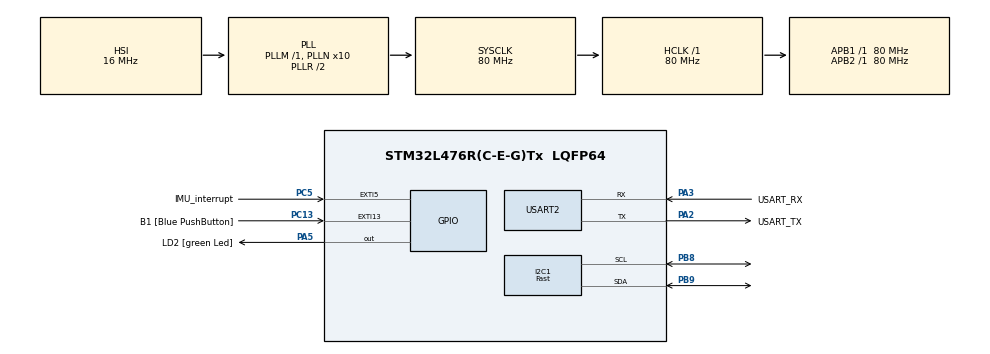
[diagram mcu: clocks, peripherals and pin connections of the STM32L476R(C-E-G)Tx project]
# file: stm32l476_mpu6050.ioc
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Dma.I2C1_RX.0.Direction=DMA_PERIPH_TO_MEMORY
Dma.I2C1_RX.0.Instance=DMA1_Channel7
Dma.I2C1_RX.0.MemDataAlignment=DMA_MDATAALIGN_BYTE
Dma.I2C1_RX.0.MemInc=DMA_MINC_ENABLE
Dma.I2C1_RX.0.Mode=DMA_NORMAL
Dma.I2C1_RX.0.PeriphDataAlignment=DMA_PDATAALIGN_BYTE
Dma.I2C1_RX.0.PeriphInc=DMA_PINC_DISABLE
Dma.I2C1_RX.0.Priority=DMA_PRIORITY_LOW
Dma.Request0=I2C1_RX
I2C1.I2C_Speed_Mode=I2C_Fast
I2C1.Timing=0x00702991
Mcu.Family=STM32L4
Mcu.Name=STM32L476R(C-E-G)Tx
Mcu.Package=LQFP64
NVIC.DMA1_Channel7_IRQn=true\:0\:0\:false\:false\:true\:false\:true\:true
NVIC.EXTI9_5_IRQn=true\:0\:0\:false\:false\:true\:true\:true\:true
NVIC.I2C1_ER_IRQn=true\:0\:0\:false\:false\:true\:true\:true\:true
NVIC.I2C1_EV_IRQn=true\:0\:0\:false\:false\:true\:true\:true\:true
NVIC.PriorityGroup=NVIC_PRIORITYGROUP_4
NVIC.RTC_WKUP_IRQn=true\:0\:0\:false\:false\:true\:true\:true\:true
PA13\ (JTMS-SWDIO).GPIO_Label=TMS
PA13\ (JTMS-SWDIO).Mode=Serial_Wire
PA13\ (JTMS-SWDIO).Signal=SYS_JTMS-SWDIO
PA14\ (JTCK-SWCLK).GPIO_Label=TCK
PA14\ (JTCK-SWCLK).Mode=Serial_Wire
PA14\ (JTCK-SWCLK).Signal=SYS_JTCK-SWCLK
PA2.GPIO_Label=USART_TX
PA2.GPIO_Mode=GPIO_MODE_AF_PP
PA2.GPIO_PuPd=GPIO_NOPULL
PA2.GPIO_Speed=GPIO_SPEED_FREQ_VERY_HIGH
PA2.Mode=Asynchronous
PA2.Signal=USART2_TX
PA3.GPIO_Label=USART_RX
PA3.GPIO_Mode=GPIO_MODE_AF_PP
PA3.GPIO_PuPd=GPIO_NOPULL
PA3.GPIO_Speed=GPIO_SPEED_FREQ_VERY_HIGH
PA3.Mode=Asynchronous
PA3.Signal=USART2_RX
PA5.GPIO_Label=LD2 [green Led]
PA5.GPIO_ModeDefaultOutputPP=GPIO_MODE_OUTPUT_PP
PA5.GPIO_PuPd=GPIO_NOPULL
PA5.GPIO_Speed=GPIO_SPEED_FREQ_LOW
PA5.Signal=GPIO_Output
PB3\ (JTDO-TRACESWO).GPIO_Label=SWO
PB3\ (JTDO-TRACESWO).Signal=SYS_JTDO-SWO
PB8.Mode=I2C
PB8.Signal=I2C1_SCL
PB9.Mode=I2C
PB9.Signal=I2C1_SDA
PC13.GPIO_Label=B1 [Blue PushButton]
PC13.GPIO_ModeDefaultEXTI=GPIO_MODE_IT_FALLING
PC13.GPIO_PuPd=GPIO_NOPULL
PC13.Signal=GPXTI13
PC14-OSC32_IN\ (PC14).Mode=LSE-External-Oscillator
PC14-OSC32_IN\ (PC14).Signal=RCC_OSC32_IN
PC15-OSC32_OUT\ (PC15).Mode=LSE-External-Oscillator
PC15-OSC32_OUT\ (PC15).Signal=RCC_OSC32_OUT
PC5.GPIO_Label=IMU_interrupt
PC5.GPIO_PuPd=GPIO_PULLDOWN
PC5.Signal=GPXTI5
PH0-OSC_IN\ (PH0).Signal=RCC_OSC_IN
PH1-OSC_OUT\ (PH1).Signal=RCC_OSC_OUT
ProjectManager.HeapSize=0x200
ProjectManager.StackSize=0x400
ProjectManager.TargetToolchain=STM32CubeIDE
RCC.ADCFreq_Value=64000000
RCC.AHBFreq_Value=80000000
RCC.APB1Freq_Value=80000000
RCC.APB1TimFreq_Value=80000000
RCC.APB2Freq_Value=80000000
RCC.APB2TimFreq_Value=80000000
RCC.CortexFreq_Value=80000000
RCC.HCLKFreq_Value=80000000
RCC.HSE_VALUE=8000000
RCC.HSI_VALUE=16000000
RCC.MSI_VALUE=4000000
RCC.PLLN=10
RCC.PLLSourceVirtual=RCC_PLLSOURCE_HSI
RCC.PREFETCH_ENABLE=1
RCC.RTCClockSelection=RCC_RTCCLKSOURCE_LSE
RCC.SYSCLKFreq_VALUE=80000000
RCC.SYSCLKSource=RCC_SYSCLKSOURCE_PLLCLK
RCC.USBFreq_Value=64000000
RCC.VCOOutputFreq_Value=160000000
USART2.VirtualMode-Asynchronous=VM_ASYNC
VP_RTC_VS_RTC_Activate.Mode=RTC_Enabled
VP_RTC_VS_RTC_Calendar.Mode=RTC_Calendar
VP_RTC_VS_RTC_WakeUp_intern.Mode=WakeUp
board=NUCLEO-L476RG

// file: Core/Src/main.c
/* USER CODE BEGIN Header */
/**
  ******************************************************************************
  * @file           : main.c
  * @brief          : Main program body
  ******************************************************************************
  * @attention
  *
  * Copyright (c) 2024 STMicroelectronics.
  * All rights reserved.
  *
  * This software is licensed under terms that can be found in the LICENSE file
  * in the root directory of this software component.
  * If no LICENSE file comes with this software, it is provided AS-IS.
  *
  ******************************************************************************
  */
/* USER CODE END Header */
#include "main.h"

/* USER CODE BEGIN Includes */
#include <stdio.h>
#include <string.h>
#include <stdarg.h>

#include "mpu6050.h"
/* USER CODE END Includes */

/* USER CODE BEGIN PD */

#define FIFO_SIZE 1024
#define gyro_output_rate 1000 // in Hz, can be either 8 kHz or 1 kHz
#define fifo_off_time    500  // in ms, total time the fifo is disabled while mcu is reading (take some margin...)

// Buffer size to store timeStamp + sensor data before writing to microSD
#define BUFFER_SIZE 31456

// full packet: "+A.XXX +A.YYY +A.ZZZ +GGG.XX +GGG.YY +GGG.ZZ\r\n"
#define SD_PACKET_SIZE 46

// timestamp size: "T: YY-MM-GG hh:mm:ss\r\n"
#define SD_TIMESTAMP_SIZE 22

// FIFO packet size: "AxAxAyAyAzAzGxGxGyGyGzGz"
#define FIFO_PACKET_SIZE 12

/****** RTC Initialization variables: ******/
#define startHours 0x13
#define startMinutes 0x15
#define startSeconds 0x0

#define startDate 0x15
#define startMonth RTC_MONTH_OCTOBER
#define startYear 0x24

/****** MOTION DETECTION THRESHOLDS ******/
#define mot_th 30    // 1 LSB = 2 mg, Suggested value ~ 20mg
#define mot_dur 1    // 1 LSB = 1 ms --> The "old" documentation suggests duration = 1 ms

/****** ZERO MOTION DETECTION THRESHOLDS ******/
#define zeroMot_th 80    // 1 LSB = 2 mg
#define zeroMot_dur 150  // 1 LSB = 64 ms

/* USER CODE END PD */

I2C_HandleTypeDef hi2c1;
DMA_HandleTypeDef hdma_i2c1_rx;

RTC_HandleTypeDef hrtc;

UART_HandleTypeDef huart2;

/* USER CODE BEGIN PV */
//TODO: comments on this section:

bool dmaTxDone = false;

// variables used for sleep cycle:
bool zero_mot_trg = false;
bool rtc_trg = false;

/*****************
 * RTC VARIABLES *
 *****************/
RTC_TimeTypeDef sTime;  // Track RTC time structure
RTC_DateTypeDef sDate;  // Track RTC data structure
HAL_StatusTypeDef statusRTC;  // RTC HAL status

/******* Sleep Variables ******/
uint32_t timerTickStart; // used in timer functions... TODO

// Used to update the sleep time depending on computation time:
uint16_t sleepTime; // in milliseconds!!

bool awake_status;

/*****************
 * IMU VARIABLES *
 *****************/

/****** ACCEL., GYRO. AND TEMPERATURE READINGS ******/
int16_t ax;
int16_t ay;
int16_t az;
double Ax, Ay, Az;

int16_t gx;
int16_t gy;
int16_t gz;
double Gx, Gy, Gz;

int16_t temp;
float curr_temp;

/*************************
 * CALIBRATION VARIABLES *
 *************************/
uint16_t readings = 1000;
uint8_t acel_deadzone = 8;  // Average accel. readings should be less than this threshold
uint8_t gyro_deadzone = 1;  // Average gyro readings should be less than this threshold

// last calibration results:
const int16_t AXoffset = 208;
const int16_t AYoffset = 53;
const int16_t AZoffset = 558;
const int16_t GXoffset = -88;
const int16_t GYoffset = -2;
const int16_t GZoffset = -9;

int16_t MPU6050_offsets[6] = {AXoffset, AYoffset, AZoffset, GXoffset, GYoffset, GZoffset};

/*********************
 * SD CARD VARIABLES *
 *********************/
// save them into SRAM2 since it allows buffering between different power down routines:
char mainBuff[BUFFER_SIZE] __attribute__((section(".ram2"))) __attribute__((aligned(4)));
uint16_t buff_Head __attribute__((section(".ram2"))) __attribute__((aligned(4)));

/* USER CODE END PV */

void SystemClock_Config(void);
static void MX_GPIO_Init(void);
static void MX_DMA_Init(void);
static void MX_USART2_UART_Init(void);
static void MX_I2C1_Init(void);
static void MX_RTC_Init(void);
/* USER CODE BEGIN PFP */

int _write(int file, char *ptr, int len);
uint8_t add_time_to_buff (char * buff, uint16_t* buff_Head);
uint8_t add_data_to_buff (char * buff, uint16_t* buff_Head, double ax, double ay, double az, double gx, double gy, double gz);
void Timer_On();
uint32_t Timer_Status();
uint16_t readIMUFifoBuffer(I2C_HandleTypeDef *I2Cx, uint8_t *temp_buff, bool rehabilitateFifo);
void process_and_save_ImuReadings(uint8_t *fifoBuff, uint16_t fifoSize, char *sramBuff, uint16_t *sramBuff_Head,
                        int16_t ax, int16_t ay, int16_t az, int16_t gx, int16_t gy, int16_t gz);
void enterStandbyMode();

void HAL_I2C_MemRxCpltCallback(I2C_HandleTypeDef * hi2c);
void HAL_I2C_ErrorCallback(I2C_HandleTypeDef * hi2c);
void HAL_RTCEx_WakeUpTimerEventCallback(RTC_HandleTypeDef *hrtc);

/* USER CODE END PFP */

int main(void)
{

  /* MCU Configuration--------------------------------------------------------*/

  /* Reset of all peripherals, Initializes the Flash interface and the Systick. */
  HAL_Init();

  /* Configure the system clock */
  SystemClock_Config();

  /* Initialize all configured peripherals */
  MX_GPIO_Init();
  MX_DMA_Init();
  MX_USART2_UART_Init();
  MX_I2C1_Init();
  MX_RTC_Init();
  /* USER CODE BEGIN 2 */

  if (__HAL_PWR_GET_FLAG(PWR_FLAG_SB) != RESET){ // Recovering from standby

    __HAL_PWR_CLEAR_FLAG(PWR_FLAG_SB);  // clear the StandBy flag

    /** Disable the WWAKEUP PIN **/
    HAL_PWR_DisableWakeUpPin(PWR_WAKEUP_PIN5);

    awake_status = MPU6050_getIntMotionStatus(&hi2c1);  // clear interrupt status register

    //reset all registers and re-initialize the device
    MPU6050_reset(&hi2c1);
    HAL_Delay(50);

    printf("MPU6050 Initialized!\r\n");

    /* mpu6050 setup zero motion interrupt: */
    MPU6050_setupZeroMotionInt(&hi2c1, zeroMot_dur, zeroMot_th, MPU6050_offsets);

//    // Reconfigure pin PC5 to detect zero motion INT TODO: test this part
//    GPIO_InitTypeDef GPIO_InitStruct = {0};
//    GPIO_InitStruct.Pin = GPIO_PIN_5;
//    GPIO_InitStruct.Mode = GPIO_MODE_IT_RISING;
//    GPIO_InitStruct.Pull = GPIO_PULLDOWN;
//    HAL_GPIO_Init(GPIOC, &GPIO_InitStruct);
//
//    HAL_NVIC_SetPriority(EXTI9_5_IRQn, 0, 0);
//    HAL_NVIC_EnableIRQ(EXTI9_5_IRQn);

    /* modify mpu6050 settings to store sensor readings in the FIFO: */

    // maximum divider -> New samples fill the FIFO with a rate of 4 Hz
    bool overflowEnabled = true;
    MPU6050_setupFifoBuffer(&hi2c1, MPU6050_DLPF_BW_188, 0xFF, overflowEnabled);

  } else { // 1st initialization:

    printf("First cycle!\r\n");

    // Initialize buffers stored in RAM2 section:
    memset(mainBuff, 0, sizeof(mainBuff));
    buff_Head = 0;

    // Initialize IMU for the 1st time
    printf("Starting IMU...\r\n");

    MPU6050_reset(&hi2c1);
    HAL_Delay(50);

    uint8_t check = MPU6050_Initialize(&hi2c1, A2G, G250DPS, MPU6050_offsets);

    if (check == 0){ // If no errors during initialization
      printf("IMU Initialized! \r\n");
    } else {
      printf("An error occured during initializiation! \r\n");

      while(1){/* block code execution */}
    }

    // Needed while loading the script (avoid conflict with ST-Link)
    HAL_Delay(500);

    // Initially deactivate wakeup function:
    HAL_RTCEx_DeactivateWakeUpTimer(&hrtc);

    // Uncomment here to perform a new calibration routine:
    // MPU6050_selfCalibration(&hi2c1, A2G, G250DPS, readings, acel_deadzone, gyro_deadzone);

    // Set-up motion interrupt
    printf("Setting up motion interrupt!\r\n\n");

    MPU6050_setupMotionInt(&hi2c1, mot_dur, mot_th, MPU6050_offsets);

    /** Now enter the standby mode **/
    enterStandbyMode();

    // Upon waking up, code will be executed from the beginning (like a reset)
  }

  /*
   *  This section is reached only after recovering from standby mode:
   */

  // local buff used to read FIFO data:
  uint8_t buff[FIFO_SIZE];
  memset(buff, 0, sizeof(buff));
  uint16_t fifoCount;
  uint32_t wakeUpCounter;

  /* Enable STOP2 mode*/

  /* calculate sleep time: */

  double fifoSamplingRate   = (double) gyro_output_rate/MPU6050_getRate(&hi2c1);
  uint16_t fifo_max_packets = (uint16_t) FIFO_SIZE/FIFO_PACKET_SIZE;    // max entire packets in the FIFO buffer:
  uint16_t defaultSleepTime = (uint16_t) (1000*(fifo_max_packets/fifoSamplingRate)) - fifo_off_time; // in ms!! Take some margin to avoid overflow conditions

  // initially sleep for the default time:
  wakeUpCounter = (defaultSleepTime/1e3)/(0.00048828125);

  // suspend tick and setup RTC interrupt
  HAL_SuspendTick();
  HAL_RTCEx_SetWakeUpTimer_IT(&hrtc, wakeUpCounter, RTC_WAKEUPCLOCK_RTCCLK_DIV16);

  /* Enter Stop mode 2 */
  HAL_PWREx_EnterSTOP2Mode(PWR_STOPENTRY_WFI);

  /* USER CODE END 2 */

  /* Infinite loop */
  /* USER CODE BEGIN WHILE */
  while (1)
  {
    // awake here...
    // deactivate the RTC interrupt and resume settings
    HAL_RTCEx_DeactivateWakeUpTimer(&hrtc);
    SystemClock_Config();
    HAL_ResumeTick();

    /* USER CODE END WHILE */

    /* USER CODE BEGIN 3 */

    if(zero_mot_trg){ // if zero motion is triggered

      printf("\nZero motion\r\n");

      // prevent new interrupt generation
      MPU6050_setIntZeroMotionEnabled(&hi2c1, false);

      // get the full interrupt status vector:
      uint8_t interrupt_status = MPU6050_getIntStatus(&hi2c1);

      // check zero motion and overflow bits:
      bool zeroMotBit   = (interrupt_status >> MPU6050_INTERRUPT_ZMOT_BIT) & 0x01;
      bool fifoOflowBit = (interrupt_status >> MPU6050_INTERRUPT_FIFO_OFLOW_BIT) & 0x01;

      // check motiont_status_reg --> determine if the interrupt was caused by motion_to_zero_motion event or vice-versa
      bool mot_to_zeroMot = MPU6050_getZeroMotionDetected(&hi2c1);

      /* Determine which signal triggered the system activation: */

      // FIFO overflow event:
      if (fifoOflowBit) {
        // TODO manage overflow event
        printf("FIFO Oflow\r\n");
        while(1);
      }

      // Zero motion event caused by zero_motion_to_motion status
      if (zeroMotBit & !mot_to_zeroMot) {
        // TODO manage this event
        printf("Wrong zero mot\r\n");
        while(1);
      }

      // This point is reached only if the MCU was triggered by a real zero motion event

      // stop FIFO acquisition and read data:
      bool rehabilitateFifo = false;
      fifoCount = readIMUFifoBuffer(&hi2c1, buff, rehabilitateFifo);

      // process FIFO data
      process_and_save_ImuReadings(buff, fifoCount, mainBuff, &buff_Head, ax, ay, az, gx, gy, gz);

      // Set-up MPU6050 for motion interrupt:
      MPU6050_reset(&hi2c1);
      HAL_Delay(50);

      // Set-up motion interrupt
      printf("Setting up motion interrupt!\r\n\n");

      MPU6050_setupMotionInt(&hi2c1, mot_dur, mot_th, MPU6050_offsets);

      /** Now enter standby mode **/
      enterStandbyMode();

    } /* End of zero motion event: enter deep sleep mode */

    if(rtc_trg){ // if rtc flag is set
      printf("\nFIFO read\r\n");

      /* read FIFO buffer: */
      bool rehabilitateFifo = true;
      fifoCount = readIMUFifoBuffer(&hi2c1, buff, rehabilitateFifo);

      // Start counting total time required by the MCU
      // This time will be subtracted from the total sleep time
      Timer_On();

      /* Process data and write into permanent memories */

      process_and_save_ImuReadings(buff, fifoCount, mainBuff, &buff_Head, ax, ay, az, gx, gy, gz);

      /*  setup RTC alarm */

      /*  RTC Wake-up Interrupt Generation:
          Wake-up Time Base = (RTC_WAKEUPCLOCK_RTCCLK_DIV /(LSI))
          ==> WakeUpCounter = Wake-up Time / Wake-up Time Base

          To configure the wake up timer to 20s the WakeUpCounter is set to 0xA017:
            RTC_WAKEUPCLOCK_RTCCLK_DIV = RTCCLK_Div16 = 16
            Wake-up Time Base = 16 /(32KHz) = 0.0005 seconds
            ==> WakeUpCounter = ~10s/0.0005s = 20000 = 0x4E20 */

      rtc_trg = false;
      wakeUpCounter = ((defaultSleepTime - Timer_Status())/1e3)/(0.00048828125);

      if(!zero_mot_trg){         // manage the case in which zero_mot is triggered while reading the FIFO
        // Enter STOP2 mode:     // ==> skip sleep phase and manage this condition.
        HAL_SuspendTick();
        HAL_RTCEx_SetWakeUpTimer_IT(&hrtc, wakeUpCounter, RTC_WAKEUPCLOCK_RTCCLK_DIV16);

        /*  Enter Stop Mode 2 */
        HAL_PWREx_EnterSTOP2Mode(PWR_STOPENTRY_WFI);
      }

    } /* End of FIFO processing */

  }
  /* USER CODE END 3 */
}

void SystemClock_Config(void)
{
  RCC_OscInitTypeDef RCC_OscInitStruct = {0};
  RCC_ClkInitTypeDef RCC_ClkInitStruct = {0};

  /** Configure the main internal regulator output voltage
  */
  if (HAL_PWREx_ControlVoltageScaling(PWR_REGULATOR_VOLTAGE_SCALE1) != HAL_OK)
  {
    Error_Handler();
  }

  /** Configure LSE Drive Capability
  */
  HAL_PWR_EnableBkUpAccess();
  __HAL_RCC_LSEDRIVE_CONFIG(RCC_LSEDRIVE_LOW);

  /** Initializes the RCC Oscillators according to the specified parameters
  * in the RCC_OscInitTypeDef structure.
  */
  RCC_OscInitStruct.OscillatorType = RCC_OSCILLATORTYPE_HSI|RCC_OSCILLATORTYPE_LSE;
  RCC_OscInitStruct.LSEState = RCC_LSE_ON;
  RCC_OscInitStruct.HSIState = RCC_HSI_ON;
  RCC_OscInitStruct.HSICalibrationValue = RCC_HSICALIBRATION_DEFAULT;
  RCC_OscInitStruct.PLL.PLLState = RCC_PLL_ON;
  RCC_OscInitStruct.PLL.PLLSource = RCC_PLLSOURCE_HSI;
  RCC_OscInitStruct.PLL.PLLM = 1;
  RCC_OscInitStruct.PLL.PLLN = 10;
  RCC_OscInitStruct.PLL.PLLP = RCC_PLLP_DIV7;
  RCC_OscInitStruct.PLL.PLLQ = RCC_PLLQ_DIV2;
  RCC_OscInitStruct.PLL.PLLR = RCC_PLLR_DIV2;
  if (HAL_RCC_OscConfig(&RCC_OscInitStruct) != HAL_OK)
  {
    Error_Handler();
  }

  /** Initializes the CPU, AHB and APB buses clocks
  */
  RCC_ClkInitStruct.ClockType = RCC_CLOCKTYPE_HCLK|RCC_CLOCKTYPE_SYSCLK
                              |RCC_CLOCKTYPE_PCLK1|RCC_CLOCKTYPE_PCLK2;
  RCC_ClkInitStruct.SYSCLKSource = RCC_SYSCLKSOURCE_PLLCLK;
  RCC_ClkInitStruct.AHBCLKDivider = RCC_SYSCLK_DIV1;
  RCC_ClkInitStruct.APB1CLKDivider = RCC_HCLK_DIV1;
  RCC_ClkInitStruct.APB2CLKDivider = RCC_HCLK_DIV1;

  if (HAL_RCC_ClockConfig(&RCC_ClkInitStruct, FLASH_LATENCY_4) != HAL_OK)
  {
    Error_Handler();
  }
}

static void MX_I2C1_Init(void)
{

  hi2c1.Instance = I2C1;
  hi2c1.Init.Timing = 0x00702991;
  hi2c1.Init.OwnAddress1 = 0;
  hi2c1.Init.AddressingMode = I2C_ADDRESSINGMODE_7BIT;
  hi2c1.Init.DualAddressMode = I2C_DUALADDRESS_DISABLE;
  hi2c1.Init.OwnAddress2 = 0;
  hi2c1.Init.OwnAddress2Masks = I2C_OA2_NOMASK;
  hi2c1.Init.GeneralCallMode = I2C_GENERALCALL_DISABLE;
  hi2c1.Init.NoStretchMode = I2C_NOSTRETCH_DISABLE;
  if (HAL_I2C_Init(&hi2c1) != HAL_OK)
  {
    Error_Handler();
  }

  /** Configure Analogue filter
  */
  if (HAL_I2CEx_ConfigAnalogFilter(&hi2c1, I2C_ANALOGFILTER_ENABLE) != HAL_OK)
  {
    Error_Handler();
  }

  /** Configure Digital filter
  */
  if (HAL_I2CEx_ConfigDigitalFilter(&hi2c1, 0) != HAL_OK)
  {
    Error_Handler();
  }

}

static void MX_RTC_Init(void)
{

  RTC_TimeTypeDef sTime = {0};
  RTC_DateTypeDef sDate = {0};

  /** Initialize RTC Only
  */
  hrtc.Instance = RTC;
  hrtc.Init.HourFormat = RTC_HOURFORMAT_24;
  hrtc.Init.AsynchPrediv = 127;
  hrtc.Init.SynchPrediv = 255;
  hrtc.Init.OutPut = RTC_OUTPUT_DISABLE;
  hrtc.Init.OutPutRemap = RTC_OUTPUT_REMAP_NONE;
  hrtc.Init.OutPutPolarity = RTC_OUTPUT_POLARITY_HIGH;
  hrtc.Init.OutPutType = RTC_OUTPUT_TYPE_OPENDRAIN;
  if (HAL_RTC_Init(&hrtc) != HAL_OK)
  {
    Error_Handler();
  }

  /* USER CODE BEGIN Check_RTC_BKUP */

  if (__HAL_PWR_GET_FLAG(PWR_FLAG_SB) != RESET) {
    printf("\n\nWaking from StandBy mode, RTC skip!\r\n");
    return; // Exit the function to prevent reinitialize RTC
  } else {
    printf("\n\nInitializing RTC!\r\n");
  }

  /* USER CODE END Check_RTC_BKUP */

  /** Initialize RTC and set the Time and Date
  */
  sTime.Hours = 0x0;
  sTime.Minutes = 0x0;
  sTime.Seconds = 0x0;
  sTime.DayLightSaving = RTC_DAYLIGHTSAVING_NONE;
  sTime.StoreOperation = RTC_STOREOPERATION_RESET;
  if (HAL_RTC_SetTime(&hrtc, &sTime, RTC_FORMAT_BCD) != HAL_OK)
  {
    Error_Handler();
  }
  sDate.WeekDay = RTC_WEEKDAY_MONDAY;
  sDate.Month = RTC_MONTH_JANUARY;
  sDate.Date = 0x1;
  sDate.Year = 0x0;

  if (HAL_RTC_SetDate(&hrtc, &sDate, RTC_FORMAT_BCD) != HAL_OK)
  {
    Error_Handler();
  }
  /* USER CODE BEGIN RTC_Init 2 */

  // Initialize RTC with user variables:
   sTime.Hours = startHours;
   sTime.Minutes = startMinutes;
   sTime.Seconds = startSeconds;
   sTime.DayLightSaving = RTC_DAYLIGHTSAVING_NONE;
   sTime.StoreOperation = RTC_STOREOPERATION_RESET;
   if (HAL_RTC_SetTime(&hrtc, &sTime, RTC_FORMAT_BCD) != HAL_OK)
   {
     Error_Handler();
   }
   sDate.WeekDay = RTC_WEEKDAY_MONDAY;
   sDate.Month = startMonth;
   sDate.Date = startDate;
   sDate.Year = startYear;

   if (HAL_RTC_SetDate(&hrtc, &sDate, RTC_FORMAT_BCD) != HAL_OK)
   {
     Error_Handler();
   }

  /* USER CODE END RTC_Init 2 */

}

static void MX_USART2_UART_Init(void)
{

  huart2.Instance = USART2;
  huart2.Init.BaudRate = 115200;
  huart2.Init.WordLength = UART_WORDLENGTH_8B;
  huart2.Init.StopBits = UART_STOPBITS_1;
  huart2.Init.Parity = UART_PARITY_NONE;
  huart2.Init.Mode = UART_MODE_TX_RX;
  huart2.Init.HwFlowCtl = UART_HWCONTROL_NONE;
  huart2.Init.OverSampling = UART_OVERSAMPLING_16;
  huart2.Init.OneBitSampling = UART_ONE_BIT_SAMPLE_DISABLE;
  huart2.AdvancedInit.AdvFeatureInit = UART_ADVFEATURE_NO_INIT;
  if (HAL_UART_Init(&huart2) != HAL_OK)
  {
    Error_Handler();
  }

}

static void MX_DMA_Init(void)
{

  /* DMA controller clock enable */
  __HAL_RCC_DMA1_CLK_ENABLE();

  /* DMA interrupt init */
  /* DMA1_Channel7_IRQn interrupt configuration */
  HAL_NVIC_SetPriority(DMA1_Channel7_IRQn, 0, 0);
  HAL_NVIC_EnableIRQ(DMA1_Channel7_IRQn);

}

static void MX_GPIO_Init(void)
{
  GPIO_InitTypeDef GPIO_InitStruct = {0};

  /* GPIO Ports Clock Enable */
  __HAL_RCC_GPIOC_CLK_ENABLE();
  __HAL_RCC_GPIOH_CLK_ENABLE();
  __HAL_RCC_GPIOA_CLK_ENABLE();
  __HAL_RCC_GPIOB_CLK_ENABLE();
  __HAL_RCC_GPIOD_CLK_ENABLE();

  /*Configure GPIO pin Output Level */
  HAL_GPIO_WritePin(LD2_GPIO_Port, LD2_Pin, GPIO_PIN_RESET);

  /*Configure GPIO pin : B1_Pin */
  GPIO_InitStruct.Pin = B1_Pin;
  GPIO_InitStruct.Mode = GPIO_MODE_IT_FALLING;
  GPIO_InitStruct.Pull = GPIO_NOPULL;
  HAL_GPIO_Init(B1_GPIO_Port, &GPIO_InitStruct);

  /*Configure GPIO pins : PC0 PC1 PC2 PC3
                           PC4 PC6 PC7 PC8
                           PC9 PC10 PC11 PC12 */
  GPIO_InitStruct.Pin = GPIO_PIN_0|GPIO_PIN_1|GPIO_PIN_2|GPIO_PIN_3
                          |GPIO_PIN_4|GPIO_PIN_6|GPIO_PIN_7|GPIO_PIN_8
                          |GPIO_PIN_9|GPIO_PIN_10|GPIO_PIN_11|GPIO_PIN_12;
  GPIO_InitStruct.Mode = GPIO_MODE_ANALOG;
  GPIO_InitStruct.Pull = GPIO_NOPULL;
  HAL_GPIO_Init(GPIOC, &GPIO_InitStruct);

  /*Configure GPIO pins : PA0 PA1 PA4 PA6
                           PA7 PA8 PA9 PA10
                           PA11 PA12 PA15 */
  GPIO_InitStruct.Pin = GPIO_PIN_0|GPIO_PIN_1|GPIO_PIN_4|GPIO_PIN_6
                          |GPIO_PIN_7|GPIO_PIN_8|GPIO_PIN_9|GPIO_PIN_10
                          |GPIO_PIN_11|GPIO_PIN_12|GPIO_PIN_15;
  GPIO_InitStruct.Mode = GPIO_MODE_ANALOG;
  GPIO_InitStruct.Pull = GPIO_NOPULL;
  HAL_GPIO_Init(GPIOA, &GPIO_InitStruct);

  /*Configure GPIO pin : LD2_Pin */
  GPIO_InitStruct.Pin = LD2_Pin;
  GPIO_InitStruct.Mode = GPIO_MODE_OUTPUT_PP;
  GPIO_InitStruct.Pull = GPIO_NOPULL;
  GPIO_InitStruct.Speed = GPIO_SPEED_FREQ_LOW;
  HAL_GPIO_Init(LD2_GPIO_Port, &GPIO_InitStruct);

  /*Configure GPIO pin : IMU_interrupt_Pin */
  GPIO_InitStruct.Pin = IMU_interrupt_Pin;
  GPIO_InitStruct.Mode = GPIO_MODE_IT_RISING;
  GPIO_InitStruct.Pull = GPIO_PULLDOWN;
  HAL_GPIO_Init(IMU_interrupt_GPIO_Port, &GPIO_InitStruct);

  /*Configure GPIO pins : PB0 PB1 PB2 PB10
                           PB11 PB12 PB13 PB14
                           PB15 PB4 PB5 PB6
                           PB7 */
  GPIO_InitStruct.Pin = GPIO_PIN_0|GPIO_PIN_1|GPIO_PIN_2|GPIO_PIN_10
                          |GPIO_PIN_11|GPIO_PIN_12|GPIO_PIN_13|GPIO_PIN_14
                          |GPIO_PIN_15|GPIO_PIN_4|GPIO_PIN_5|GPIO_PIN_6
                          |GPIO_PIN_7;
  GPIO_InitStruct.Mode = GPIO_MODE_ANALOG;
  GPIO_InitStruct.Pull = GPIO_NOPULL;
  HAL_GPIO_Init(GPIOB, &GPIO_InitStruct);

  /*Configure GPIO pin : PD2 */
  GPIO_InitStruct.Pin = GPIO_PIN_2;
  GPIO_InitStruct.Mode = GPIO_MODE_ANALOG;
  GPIO_InitStruct.Pull = GPIO_NOPULL;
  HAL_GPIO_Init(GPIOD, &GPIO_InitStruct);

  /* EXTI interrupt init*/
  HAL_NVIC_SetPriority(EXTI9_5_IRQn, 0, 0);
  HAL_NVIC_EnableIRQ(EXTI9_5_IRQn);

}

/* USER CODE BEGIN 4 */

// Function to redirect printf output to UART
int _write(int file, char *ptr, int len)
{
  HAL_UART_Transmit(&huart2, (uint8_t *)ptr, len, HAL_MAX_DELAY);
  return len;
}

// TODO
uint8_t add_data_to_buff (char* buff, uint16_t* buff_Head, double ax, double ay, double az, double gx, double gy, double gz) {

  // Check for buffer overflow
  uint16_t init_buff_head = *buff_Head;
  uint16_t available_space = BUFFER_SIZE - *buff_Head;
  if (available_space < SD_PACKET_SIZE) {  // +1 for null terminator
    return -1;  // Indicate buffer full
  }

  // Add Accelerometer:

  *buff_Head += snprintf(buff + *buff_Head, BUFFER_SIZE - *buff_Head,
                                "%+4.3f %+4.3f %+4.3f ",
                                ax,
                                ay,
                                az);

  // Add Gyroscope:
  *buff_Head += snprintf(buff + *buff_Head, BUFFER_SIZE - *buff_Head,
                                "%+07.2f %+07.2f %+07.2f\r\n",
                                gx,
                                gy,
                                gz);

  return *buff_Head - init_buff_head;
}

// TODO: add more comments here...
//add current time to main buffer, returns -1 if buffer full, number of bytes written otherwise
uint8_t add_time_to_buff (char * buff, uint16_t* buff_Head) {

  // Check for buffer overflow
  uint16_t init_buff_head = *buff_Head;
  uint16_t available_space = BUFFER_SIZE - *buff_Head;

  // Ensure that the buffer is not overflowed
  if (available_space < SD_TIMESTAMP_SIZE) {  // +1 for null terminator
    return -1;  // Indicate buffer full
  }

  // Get current time:
  statusRTC = HAL_RTC_GetTime(&hrtc, &sTime, RTC_FORMAT_BIN);
  if (statusRTC != HAL_OK) {
    printf("RTC error!\r\n");
    while(1);
  }

  // Get current date:
  statusRTC = HAL_RTC_GetDate(&hrtc, &sDate, RTC_FORMAT_BIN);
  if (statusRTC != HAL_OK) {
    printf("RTC error!\r\n");
    while(1);
  }

  // Add time stamp:
  *buff_Head += snprintf(buff + *buff_Head, available_space, "T: %02d-%02d-%02d %02d:%02d:%02d\r\n",
                         sDate.Year, sDate.Month, sDate.Date, sTime.Hours, sTime.Minutes, sTime.Seconds);

  return *buff_Head - init_buff_head;
}

// TODO
void Timer_On() {
  timerTickStart = HAL_GetTick();
}

// TODO
uint32_t Timer_Status() {
  return HAL_GetTick() - timerTickStart;
}

//TODO
uint16_t readIMUFifoBuffer(I2C_HandleTypeDef *I2Cx, uint8_t *temp_buff, bool rehabilitateFifo) {
  uint16_t fifoCount;

  // wait full packet received
  do {
   fifoCount = MPU6050_getFIFOCount(I2Cx);

  // TODO: add additional check to drop data if fifoCount%12 != 0
  } while(fifoCount % FIFO_PACKET_SIZE != 0);

  // prevent new incoming packets
  MPU6050_setFIFOEnabled(I2Cx, false);

  // prevent new data incoming in the FIFO while reading:
  MPU6050_setXGyroFIFOEnabled(I2Cx, false);
  MPU6050_setYGyroFIFOEnabled(I2Cx, false);
  MPU6050_setZGyroFIFOEnabled(I2Cx, false);
  MPU6050_setAccelFIFOEnabled(I2Cx, false);

  // Enable the FIFO for reading:
  MPU6050_setFIFOEnabled(I2Cx, true);

  // read FIFO here...
  //MPU6050_getFIFOBytes(&hi2c1, buff, fifoCount);

  HAL_I2C_Mem_Read_DMA(I2Cx, MPU6050_ADDR, MPU6050_RA_FIFO_R_W, 1, temp_buff, fifoCount);

  // TODO remove this debug
  printf("Bytes: %d\r\n", fifoCount);

  HAL_RTC_GetTime(&hrtc, &sTime, RTC_FORMAT_BIN);
  HAL_RTC_GetDate(&hrtc, &sDate, RTC_FORMAT_BIN);
  printf("T: %02d-%02d-%02d %02d:%02d:%02d\r\n",
           sDate.Year, sDate.Month, sDate.Date, sTime.Hours, sTime.Minutes, sTime.Seconds);

  while(!dmaTxDone);
  dmaTxDone = false;

  // here FIFO can be enabled again: (avoid losing samples)

  // prevent new incoming packets
  MPU6050_setFIFOEnabled(I2Cx, false);

  // activate sensors writing to FIFO
  MPU6050_setXGyroFIFOEnabled(I2Cx, true);
  MPU6050_setYGyroFIFOEnabled(I2Cx, true);
  MPU6050_setZGyroFIFOEnabled(I2Cx, true);
  MPU6050_setAccelFIFOEnabled(I2Cx, true);

  // reset FIFO:
  MPU6050_resetFIFO(I2Cx);

  // activate FIFO for a new cycle: (prevent activation if zero motion triggered)
  if (rehabilitateFifo) MPU6050_setFIFOEnabled(I2Cx, true);

  return fifoCount;
}

//TODO
void process_and_save_ImuReadings(uint8_t *fifoBuff, uint16_t fifoSize, char *sramBuff, uint16_t *sramBuff_Head,
                        int16_t ax, int16_t ay, int16_t az, int16_t gx, int16_t gy, int16_t gz){

  // write time stamp into the sram2 buff:
  int8_t new_bytes = add_time_to_buff(sramBuff, sramBuff_Head);

  if (new_bytes == -1){
    // write to SD card here...
    printf("Buffer full, write to SD card\r\n");
    HAL_Delay(1000);

    // reset buffer:
    memset(sramBuff, 0, *sramBuff_Head);
    *sramBuff_Head = 0;

    // now add timestamp to main buff:
    add_time_to_buff(sramBuff, sramBuff_Head);
  }

  for (int i = 0; i < fifoSize; i += FIFO_PACKET_SIZE) {
    // combine raw data and convert into readable format:
    ax = (((int16_t)fifoBuff[i]) << 8) | fifoBuff[i+1];
    ay = (((int16_t)fifoBuff[i+2]) << 8) | fifoBuff[i+3];
    az = (((int16_t)fifoBuff[i+4]) << 8) | fifoBuff[i+5];

    gx = (((int16_t)fifoBuff[i+6]) << 8) | fifoBuff[i+7];
    gy = (((int16_t)fifoBuff[i+8]) << 8) | fifoBuff[i+9];
    gz = (((int16_t)fifoBuff[i+10]) << 8) | fifoBuff[i+11];

    // scale measurement depending on resolution:
    Ax = (double)ax * accelerationResolution;
    Ay = (double)ay * accelerationResolution;
    Az = (double)az * accelerationResolution;
    Gx = (double)gx * gyroscopeResolution;
    Gy = (double)gy * gyroscopeResolution;
    Gz = (double)gz * gyroscopeResolution;

//        printf("\nIndex: %d\r\n", i);
//        printf("Ax: %.3f g\r\n", Ax);
//        printf("Ay: %.3f g\r\n", Ay);
//        printf("Az: %.3f g\r\n", Az);
//        printf("Gx: %.3f °/s\r\n", Gx);
//        printf("Gy: %.3f °/s\r\n", Gy);
//        printf("Gz: %.3f °/s\r\n", Gz);
//
//        HAL_Delay(500);

    // write time stamp into the sram2 buff:
    uint8_t new_bytes = add_data_to_buff(sramBuff, sramBuff_Head, Ax, Ay, Az, Gx, Gy, Gz);

    // TODO: implement more effective way to manage overflow here
    // However this behavior is not expected!
    if(new_bytes == -1){
      // write to SD card here...
      printf("Buffer full, write to SD card\r\n");
      HAL_Delay(1000);

      // reset buffer:
      memset(sramBuff, 0, *sramBuff_Head);
      *sramBuff_Head = 0;

      // now add timestamp to main buff:
      add_data_to_buff(sramBuff, sramBuff_Head, Ax, Ay, Az, Gx, Gy, Gz);
    }
  }
}

void enterStandbyMode(){
  /* Clear the WU FLAG */
  __HAL_PWR_CLEAR_FLAG(PWR_FLAG_WU);

  printf("About to sleep...\r\n");

  // TODO: check here -> reconfigure EXTI pin as SYS_WKUP
  HAL_NVIC_DisableIRQ(EXTI9_5_IRQn);

  GPIO_InitTypeDef GPIO_InitStruct = {0};
  GPIO_InitStruct.Pin  = GPIO_PIN_5;
  GPIO_InitStruct.Mode = GPIO_MODE_INPUT;
  GPIO_InitStruct.Pull = GPIO_PULLDOWN;
  HAL_GPIO_Init(GPIOC, &GPIO_InitStruct);

  // Enable pull down on SYS_WKUP pin
  HAL_PWREx_EnableGPIOPullDown(PWR_GPIO_C, PWR_GPIO_BIT_5);
  HAL_PWREx_EnablePullUpPullDownConfig();

  // Enable RAM2 content retention
  HAL_PWREx_EnableSRAM2ContentRetention();

  /* Enable the WAKEUP PIN */
  HAL_PWR_EnableWakeUpPin(PWR_WAKEUP_PIN5);

  printf("Entering standby mode\r\n");

  /* Finally enter the standby mode */
  HAL_PWR_EnterSTANDBYMode();
}

//TODO
void HAL_I2C_MemRxCpltCallback(I2C_HandleTypeDef * hi2c) {
  dmaTxDone = true;
}

//TODO
void HAL_I2C_ErrorCallback(I2C_HandleTypeDef * hi2c){
  printf("Err DMA!\r\n");
}

//TODO
void HAL_RTCEx_WakeUpTimerEventCallback(RTC_HandleTypeDef *hrtc)
{
  rtc_trg = true;
}

//TODO
void HAL_GPIO_EXTI_Callback(uint16_t GPIO_Pin)
{
  if(GPIO_Pin == IMU_interrupt_Pin)
  {
    // code here...
    zero_mot_trg = true;

  }
}

/* USER CODE END 4 */

void Error_Handler(void)
{
  __disable_irq();
  while (1)
  {
  }
}
